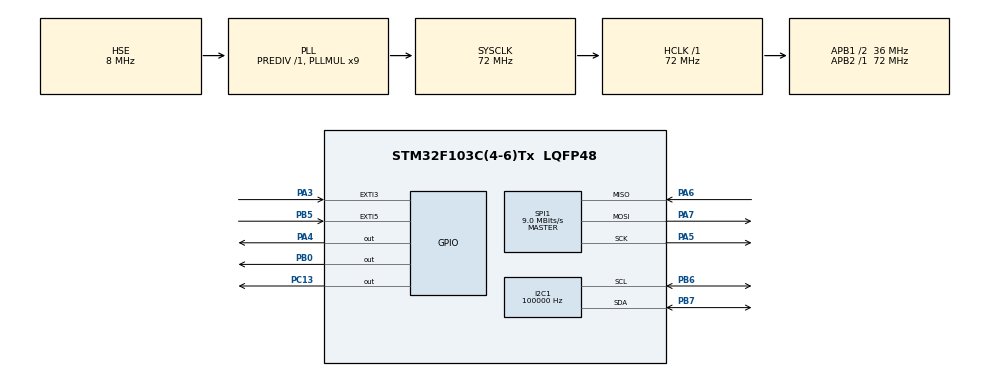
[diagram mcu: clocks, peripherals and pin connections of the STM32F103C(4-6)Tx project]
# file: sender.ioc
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I2C1.ClockSpeed=100000
Mcu.Family=STM32F1
Mcu.Name=STM32F103C(4-6)Tx
Mcu.Package=LQFP48
NVIC.EXTI3_IRQn=true\:0\:0\:false\:false\:true\:true\:true\:true
NVIC.EXTI9_5_IRQn=true\:0\:0\:false\:false\:true\:true\:true\:true
NVIC.PriorityGroup=NVIC_PRIORITYGROUP_4
PA13.Mode=Serial_Wire
PA13.Signal=SYS_JTMS-SWDIO
PA14.Mode=Serial_Wire
PA14.Signal=SYS_JTCK-SWCLK
PA3.GPIO_ModeDefaultEXTI=GPIO_MODE_IT_FALLING
PA3.Signal=GPXTI3
PA4.Signal=GPIO_Output
PA5.Mode=Full_Duplex_Master
PA5.Signal=SPI1_SCK
PA6.Mode=Full_Duplex_Master
PA6.Signal=SPI1_MISO
PA7.Mode=Full_Duplex_Master
PA7.Signal=SPI1_MOSI
PB0.Signal=GPIO_Output
PB5.GPIO_ModeDefaultEXTI=GPIO_MODE_IT_FALLING
PB5.GPIO_PuPd=GPIO_PULLUP
PB5.Signal=GPXTI5
PB6.Mode=I2C
PB6.Signal=I2C1_SCL
PB7.Mode=I2C
PB7.Signal=I2C1_SDA
PC13-TAMPER-RTC.Signal=GPIO_Output
PD0-OSC_IN.Mode=HSE-External-Oscillator
PD0-OSC_IN.Signal=RCC_OSC_IN
PD1-OSC_OUT.Mode=HSE-External-Oscillator
PD1-OSC_OUT.Signal=RCC_OSC_OUT
ProjectManager.HeapSize=0x200
ProjectManager.StackSize=0x400
ProjectManager.TargetToolchain=STM32CubeIDE
RCC.AHBFreq_Value=72000000
RCC.APB1CLKDivider=RCC_HCLK_DIV2
RCC.APB1Freq_Value=36000000
RCC.APB1TimFreq_Value=72000000
RCC.APB2Freq_Value=72000000
RCC.APB2TimFreq_Value=72000000
RCC.HCLKFreq_Value=72000000
RCC.PLLMUL=RCC_PLL_MUL9
RCC.PLLSourceVirtual=RCC_PLLSOURCE_HSE
RCC.SYSCLKFreq_VALUE=72000000
RCC.SYSCLKSource=RCC_SYSCLKSOURCE_PLLCLK
RCC.USBFreq_Value=48000000
RCC.USBPrescaler=RCC_USBCLKSOURCE_PLL_DIV1_5
SPI1.BaudRatePrescaler=SPI_BAUDRATEPRESCALER_8
SPI1.CalculateBaudRate=9.0 MBits/s
SPI1.Direction=SPI_DIRECTION_2LINES
SPI1.Mode=SPI_MODE_MASTER
SPI1.VirtualType=VM_MASTER
board=custom

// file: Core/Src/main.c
/* USER CODE BEGIN Header */
/**
  ******************************************************************************
  * @file           : main.c
  * @brief          : Main program body
  ******************************************************************************
  * @attention
  *
  * Copyright (c) 2025 STMicroelectronics.
  * All rights reserved.
  *
  * This software is licensed under terms that can be found in the LICENSE file
  * in the root directory of this software component.
  * If no LICENSE file comes with this software, it is provided AS-IS.
  *
  ******************************************************************************
  */
/* USER CODE END Header */
#include "main.h"

/* USER CODE BEGIN Includes */
#include "nrf24l01.h"
#include <stdbool.h>
#include <stdint.h>

/* USER CODE END Includes */

/* USER CODE BEGIN PD */
/* ----- MPR121 definitions ----- */
#define MPR121_ADDR_7B							0x5A
#define MPR121_ADDR 								(MPR121_ADDR_7B << 1)

#define MPR121_REG_TOUCH_STATUS_L 	0x00
#define MPR121_REG_DEBOUNCE					0x5B
#define MPR121_REG_AFE_CFG1   			0x5C  // FFI (bits 7:6) | CDC (bits 5:0)
#define MPR121_REG_AFE_CFG2   			0x5D  // CDT (7:5) | SFI (4:3) | ESI (2:0)
#define MPR121_REG_ECR 							0x5E
#define MPR121_REG_ELE0_T						0x41 // ELE0_R=0x42, ELE1_T=0x43, ...

#define MPR121_AFE_CFG1_RESET 			0x10  // FFI=00 (6 samples), CDC=0x10 (16 µA)
#define MPR121_AFE_CFG2_RESET 			0x24  // CDT=001 (0.5 µs), SFI=00 (4), ESI=100 (16 ms)
#define MPR121_AFE_CFG1 						0b00011000 // 24uA
#define MPR121_AFE_CFG2							0b00100001 // CDT 0.5us, ESI 2ms

#define MPR121_TOUCH_THR_DEFAULT 		0x30 // TODO: fine-tune
#define MPR121_RELEASE_THR_DEFAULT 	0x2D // TODO: fine-tune
#define MPR121_DEBOUNCE							0x11 // TODO: fine-tune
#define MPR121_RUN_MODE							0x86 // TODO: fine-tune

// Sensor ID mask
volatile uint8_t g_mpr_irq_pending = 0;

/* USER CODE END PD */

/* USER CODE BEGIN PM */

#ifndef DEVICE_ID
#define DEVICE_ID 1
#endif

// Accommodate for 8 devices total
#if (DEVICE_ID < 0) || (DEVICE_ID > 7)
#error "DEVICE_ID must be in range [0, 7]"
#endif

/* USER CODE END PM */

I2C_HandleTypeDef hi2c1;

SPI_HandleTypeDef hspi1;

void SystemClock_Config(void);
static void MX_GPIO_Init(void);
static void MX_I2C1_Init(void);
static void MX_SPI1_Init(void);
/* USER CODE BEGIN PFP */

/* ----- MPR121 prototypes ----- */
static HAL_StatusTypeDef MPR121_Write8(uint8_t reg, uint8_t val);
static HAL_StatusTypeDef MPR121_ReadN(uint8_t reg, uint8_t *buf, uint16_t n);
static uint16_t MPR121_ReadTouchedMask(void);
static bool MPR121_Init(void);

/* USER CODE END PFP */

/* USER CODE BEGIN 0 */

/* ----- MPR121 functions ----- */

// Write a value to a register on the MPR121 board
static HAL_StatusTypeDef MPR121_Write8(uint8_t reg, uint8_t val) {
	return HAL_I2C_Mem_Write(&hi2c1, MPR121_ADDR, reg, I2C_MEMADD_SIZE_8BIT, &val, 1, 50);
}

// Read a register on MPR121 board
static HAL_StatusTypeDef MPR121_ReadN(uint8_t reg, uint8_t *buf, uint16_t n) {
	return HAL_I2C_Mem_Read(&hi2c1, MPR121_ADDR, reg, I2C_MEMADD_SIZE_8BIT, buf, n, 50);
}

// Read 0x00-0x01: also clears MPR121 IRQ line
static uint16_t MPR121_ReadTouchedMask(void) {
	uint8_t s[2] = {0};
	if (MPR121_ReadN(MPR121_REG_TOUCH_STATUS_L, s, 2) != HAL_OK) {return 0;}
	return (uint16_t) s[0] | ((uint16_t) s[1] << 8);
}

// Configure thresholds and start sensing
static bool MPR121_Init(void) {
	// Stop mode while configuring
	if (MPR121_Write8(MPR121_REG_ECR, 0x00) != HAL_OK) {return false;}

	if (MPR121_Write8(MPR121_REG_AFE_CFG1, MPR121_AFE_CFG1) != HAL_OK) {return false;}
	if (MPR121_Write8(MPR121_REG_AFE_CFG2, MPR121_AFE_CFG2) != HAL_OK) {return false;}

	// Touch configurations for ELE0 through ELE11
	for (uint8_t ele = 0; ele < 12; ele++) {
		uint8_t treg = MPR121_REG_ELE0_T + ele * 2;

		// Set activation/release threshold
		if (MPR121_Write8(treg, MPR121_TOUCH_THR_DEFAULT) != HAL_OK) {return false;}
		if (MPR121_Write8(treg + 1, MPR121_RELEASE_THR_DEFAULT) != HAL_OK) {return false;}
	}
	// Set debounce, run mode
	if (MPR121_Write8(MPR121_REG_DEBOUNCE, MPR121_DEBOUNCE) != HAL_OK) {return false;}
	if (MPR121_Write8(MPR121_REG_ECR, MPR121_RUN_MODE) != HAL_OK) {return false;}

	return true;
}

/* nrf24l01 */
uint8_t TxBuffer[NRF24L01_PAYLOAD_LENGTH] = {0};

/* USER CODE END 0 */

int main(void)
{

  /* MCU Configuration--------------------------------------------------------*/

  /* Reset of all peripherals, Initializes the Flash interface and the Systick. */
  HAL_Init();

  /* Configure the system clock */
  SystemClock_Config();

  /* Initialize all configured peripherals */
  MX_GPIO_Init();
  MX_I2C1_Init();
  MX_SPI1_Init();
  /* USER CODE BEGIN 2 */

  // Initialize MPR121
  while (!MPR121_Init()) {
  	HAL_GPIO_TogglePin(GPIOC, GPIO_PIN_13);
		HAL_Delay(100);
  }

  // Initalize nRF24
  uint8_t TxAddress1[5] = {0xB3, 0xB4, 0xB5, 0xB6, DEVICE_ID};
	NRF24L01_TxInit(70, NRF24L01_DATA_RATE_2MBPS, 2000);
	NRF24L01_SetTxAddress(TxAddress1, 2000);

  // Turn LED off
  HAL_GPIO_WritePin(GPIOC, GPIO_PIN_13, GPIO_PIN_SET);

  /* USER CODE END 2 */

  /* Infinite loop */
  while (1)
  {

    /* USER CODE BEGIN 3 */
  	if (g_mpr_irq_pending) {
  		g_mpr_irq_pending = 0;
  		uint8_t mask = MPR121_ReadTouchedMask() & 0xFF;

  		// Light the LED while any electrode is touched
  		HAL_GPIO_WritePin(GPIOC, GPIO_PIN_13, (mask ? GPIO_PIN_RESET: GPIO_PIN_SET));
  		TxBuffer[0] = DEVICE_ID;
  		TxBuffer[1] = mask;
  		NRF24L01_TxTransmit(TxBuffer, 2000);
  	}
  }
  /* USER CODE END 3 */
}

void SystemClock_Config(void)
{
  RCC_OscInitTypeDef RCC_OscInitStruct = {0};
  RCC_ClkInitTypeDef RCC_ClkInitStruct = {0};

  /** Initializes the RCC Oscillators according to the specified parameters
  * in the RCC_OscInitTypeDef structure.
  */
  RCC_OscInitStruct.OscillatorType = RCC_OSCILLATORTYPE_HSE;
  RCC_OscInitStruct.HSEState = RCC_HSE_ON;
  RCC_OscInitStruct.HSEPredivValue = RCC_HSE_PREDIV_DIV1;
  RCC_OscInitStruct.HSIState = RCC_HSI_ON;
  RCC_OscInitStruct.PLL.PLLState = RCC_PLL_ON;
  RCC_OscInitStruct.PLL.PLLSource = RCC_PLLSOURCE_HSE;
  RCC_OscInitStruct.PLL.PLLMUL = RCC_PLL_MUL9;
  if (HAL_RCC_OscConfig(&RCC_OscInitStruct) != HAL_OK)
  {
    Error_Handler();
  }

  /** Initializes the CPU, AHB and APB buses clocks
  */
  RCC_ClkInitStruct.ClockType = RCC_CLOCKTYPE_HCLK|RCC_CLOCKTYPE_SYSCLK
                              |RCC_CLOCKTYPE_PCLK1|RCC_CLOCKTYPE_PCLK2;
  RCC_ClkInitStruct.SYSCLKSource = RCC_SYSCLKSOURCE_PLLCLK;
  RCC_ClkInitStruct.AHBCLKDivider = RCC_SYSCLK_DIV1;
  RCC_ClkInitStruct.APB1CLKDivider = RCC_HCLK_DIV2;
  RCC_ClkInitStruct.APB2CLKDivider = RCC_HCLK_DIV1;

  if (HAL_RCC_ClockConfig(&RCC_ClkInitStruct, FLASH_LATENCY_2) != HAL_OK)
  {
    Error_Handler();
  }
}

static void MX_I2C1_Init(void)
{

  hi2c1.Instance = I2C1;
  hi2c1.Init.ClockSpeed = 100000;
  hi2c1.Init.DutyCycle = I2C_DUTYCYCLE_2;
  hi2c1.Init.OwnAddress1 = 0;
  hi2c1.Init.AddressingMode = I2C_ADDRESSINGMODE_7BIT;
  hi2c1.Init.DualAddressMode = I2C_DUALADDRESS_DISABLE;
  hi2c1.Init.OwnAddress2 = 0;
  hi2c1.Init.GeneralCallMode = I2C_GENERALCALL_DISABLE;
  hi2c1.Init.NoStretchMode = I2C_NOSTRETCH_DISABLE;
  if (HAL_I2C_Init(&hi2c1) != HAL_OK)
  {
    Error_Handler();
  }

}

static void MX_SPI1_Init(void)
{

  /* SPI1 parameter configuration*/
  hspi1.Instance = SPI1;
  hspi1.Init.Mode = SPI_MODE_MASTER;
  hspi1.Init.Direction = SPI_DIRECTION_2LINES;
  hspi1.Init.DataSize = SPI_DATASIZE_8BIT;
  hspi1.Init.CLKPolarity = SPI_POLARITY_LOW;
  hspi1.Init.CLKPhase = SPI_PHASE_1EDGE;
  hspi1.Init.NSS = SPI_NSS_SOFT;
  hspi1.Init.BaudRatePrescaler = SPI_BAUDRATEPRESCALER_8;
  hspi1.Init.FirstBit = SPI_FIRSTBIT_MSB;
  hspi1.Init.TIMode = SPI_TIMODE_DISABLE;
  hspi1.Init.CRCCalculation = SPI_CRCCALCULATION_DISABLE;
  hspi1.Init.CRCPolynomial = 10;
  if (HAL_SPI_Init(&hspi1) != HAL_OK)
  {
    Error_Handler();
  }

}

static void MX_GPIO_Init(void)
{
  GPIO_InitTypeDef GPIO_InitStruct = {0};

  /* GPIO Ports Clock Enable */
  __HAL_RCC_GPIOC_CLK_ENABLE();
  __HAL_RCC_GPIOD_CLK_ENABLE();
  __HAL_RCC_GPIOA_CLK_ENABLE();
  __HAL_RCC_GPIOB_CLK_ENABLE();

  /*Configure GPIO pin Output Level */
  HAL_GPIO_WritePin(GPIOC, GPIO_PIN_13, GPIO_PIN_RESET);

  /*Configure GPIO pin Output Level */
  HAL_GPIO_WritePin(GPIOA, GPIO_PIN_4, GPIO_PIN_RESET);

  /*Configure GPIO pin Output Level */
  HAL_GPIO_WritePin(GPIOB, GPIO_PIN_0, GPIO_PIN_RESET);

  /*Configure GPIO pin : PC13 */
  GPIO_InitStruct.Pin = GPIO_PIN_13;
  GPIO_InitStruct.Mode = GPIO_MODE_OUTPUT_PP;
  GPIO_InitStruct.Pull = GPIO_NOPULL;
  GPIO_InitStruct.Speed = GPIO_SPEED_FREQ_LOW;
  HAL_GPIO_Init(GPIOC, &GPIO_InitStruct);

  /*Configure GPIO pin : PA3 */
  GPIO_InitStruct.Pin = GPIO_PIN_3;
  GPIO_InitStruct.Mode = GPIO_MODE_IT_FALLING;
  GPIO_InitStruct.Pull = GPIO_NOPULL;
  HAL_GPIO_Init(GPIOA, &GPIO_InitStruct);

  /*Configure GPIO pin : PA4 */
  GPIO_InitStruct.Pin = GPIO_PIN_4;
  GPIO_InitStruct.Mode = GPIO_MODE_OUTPUT_PP;
  GPIO_InitStruct.Pull = GPIO_NOPULL;
  GPIO_InitStruct.Speed = GPIO_SPEED_FREQ_LOW;
  HAL_GPIO_Init(GPIOA, &GPIO_InitStruct);

  /*Configure GPIO pin : PB0 */
  GPIO_InitStruct.Pin = GPIO_PIN_0;
  GPIO_InitStruct.Mode = GPIO_MODE_OUTPUT_PP;
  GPIO_InitStruct.Pull = GPIO_NOPULL;
  GPIO_InitStruct.Speed = GPIO_SPEED_FREQ_LOW;
  HAL_GPIO_Init(GPIOB, &GPIO_InitStruct);

  /*Configure GPIO pin : PB5 */
  GPIO_InitStruct.Pin = GPIO_PIN_5;
  GPIO_InitStruct.Mode = GPIO_MODE_IT_FALLING;
  GPIO_InitStruct.Pull = GPIO_PULLUP;
  HAL_GPIO_Init(GPIOB, &GPIO_InitStruct);

  /* EXTI interrupt init*/
  HAL_NVIC_SetPriority(EXTI3_IRQn, 0, 0);
  HAL_NVIC_EnableIRQ(EXTI3_IRQn);

  HAL_NVIC_SetPriority(EXTI9_5_IRQn, 0, 0);
  HAL_NVIC_EnableIRQ(EXTI9_5_IRQn);

}

void Error_Handler(void)
{
  __disable_irq();
  while (1)
  {
  }
}
